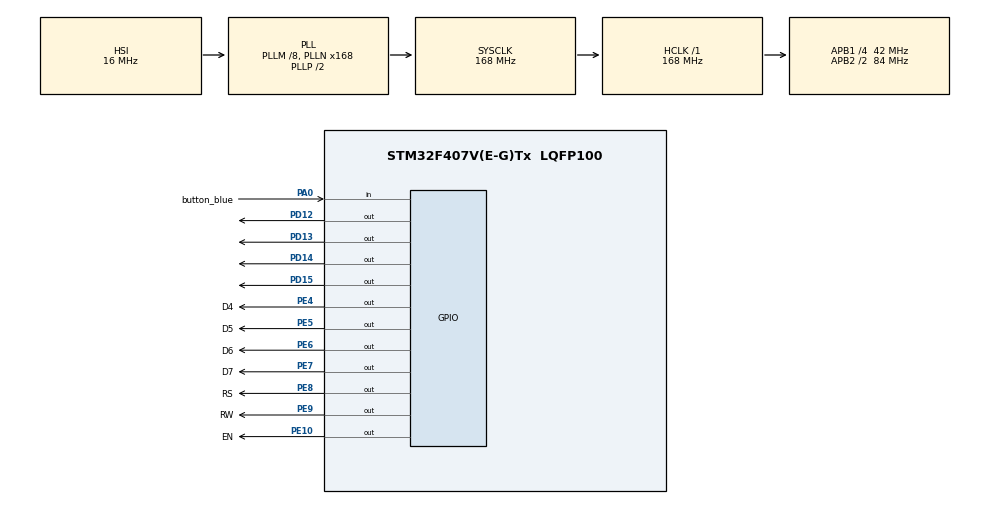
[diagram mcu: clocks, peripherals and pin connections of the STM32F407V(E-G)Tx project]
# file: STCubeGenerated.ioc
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Mcu.Family=STM32F4
Mcu.Name=STM32F407V(E-G)Tx
Mcu.Package=LQFP100
NVIC.PriorityGroup=NVIC_PRIORITYGROUP_4
PA0-WKUP.GPIO_Label=button_blue
PA0-WKUP.Signal=GPIO_Input
PD12.Signal=GPIO_Output
PD13.Signal=GPIO_Output
PD14.Signal=GPIO_Output
PD15.Signal=GPIO_Output
PE10.GPIO_Label=EN
PE10.GPIO_ModeDefaultOutputPP=GPIO_MODE_OUTPUT_PP
PE10.GPIO_PuPd=GPIO_NOPULL
PE10.Signal=GPIO_Output
PE4.GPIO_Label=D4
PE4.GPIO_ModeDefaultOutputPP=GPIO_MODE_OUTPUT_PP
PE4.GPIO_PuPd=GPIO_NOPULL
PE4.Signal=GPIO_Output
PE5.GPIO_Label=D5
PE5.GPIO_ModeDefaultOutputPP=GPIO_MODE_OUTPUT_PP
PE5.GPIO_PuPd=GPIO_NOPULL
PE5.Signal=GPIO_Output
PE6.GPIO_Label=D6
PE6.GPIO_ModeDefaultOutputPP=GPIO_MODE_OUTPUT_PP
PE6.GPIO_PuPd=GPIO_NOPULL
PE6.Signal=GPIO_Output
PE7.GPIO_Label=D7
PE7.GPIO_ModeDefaultOutputPP=GPIO_MODE_OUTPUT_PP
PE7.GPIO_PuPd=GPIO_NOPULL
PE7.Signal=GPIO_Output
PE8.GPIO_Label=RS
PE8.GPIO_ModeDefaultOutputPP=GPIO_MODE_OUTPUT_PP
PE8.GPIO_PuPd=GPIO_NOPULL
PE8.Signal=GPIO_Output
PE9.GPIO_Label=RW
PE9.GPIO_ModeDefaultOutputPP=GPIO_MODE_OUTPUT_PP
PE9.GPIO_PuPd=GPIO_NOPULL
PE9.Signal=GPIO_Output
PH0-OSC_IN.Mode=HSE-External-Oscillator
PH0-OSC_IN.Signal=RCC_OSC_IN
PH1-OSC_OUT.Mode=HSE-External-Oscillator
PH1-OSC_OUT.Signal=RCC_OSC_OUT
ProjectManager.HeapSize=0x200
ProjectManager.StackSize=0x400
ProjectManager.TargetToolchain=MDK-ARM V5
RCC.48MHZClocksFreq_Value=84000000
RCC.AHBFreq_Value=168000000
RCC.APB1CLKDivider=RCC_HCLK_DIV4
RCC.APB1Freq_Value=42000000
RCC.APB1TimFreq_Value=84000000
RCC.APB2CLKDivider=RCC_HCLK_DIV2
RCC.APB2Freq_Value=84000000
RCC.APB2TimFreq_Value=168000000
RCC.CortexFreq_Value=168000000
RCC.HCLKFreq_Value=168000000
RCC.HSE_VALUE=8000000
RCC.HSI_VALUE=16000000
RCC.LSE_VALUE=32768
RCC.PLLM=8
RCC.PLLN=168
RCC.SYSCLKFreq_VALUE=168000000
RCC.SYSCLKSource=RCC_SYSCLKSOURCE_PLLCLK
RCC.VCOOutputFreq_Value=336000000
board=custom

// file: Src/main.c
/* USER CODE BEGIN Header */
/**
  ******************************************************************************
  * @file           : main.c
  * @brief          : Main program body
  ******************************************************************************
  * @attention
  *
  * Copyright (c) 2023 STMicroelectronics.
  * All rights reserved.
  *
  * This software is licensed under terms that can be found in the LICENSE file
  * in the root directory of this software component.
  * If no LICENSE file comes with this software, it is provided AS-IS.
  *
  ******************************************************************************
  */
/* USER CODE END Header */
#include "main.h"

/* USER CODE BEGIN Includes */
#include "lcd.h"
#include "stdio.h"

/* USER CODE END Includes */

void SystemClock_Config(void);
static void MX_GPIO_Init(void);

int main(void)
{

  /* MCU Configuration--------------------------------------------------------*/

  /* Reset of all peripherals, Initializes the Flash interface and the Systick. */
  HAL_Init();

  /* Configure the system clock */
  SystemClock_Config();

  /* Initialize all configured peripherals */
  MX_GPIO_Init();
  /* USER CODE BEGIN 2 */

	// lcd_init
	HAL_GPIO_WritePin(RW_GPIO_Port, RW_Pin, 0);
	Lcd_PortType ports[] = { D4_GPIO_Port, D5_GPIO_Port, D6_GPIO_Port, D7_GPIO_Port };
	Lcd_PinType pins[] = {D4_Pin, D5_Pin, D6_Pin, D7_Pin};
	Lcd_HandleTypeDef lcd;
	lcd = Lcd_create(ports, pins, RS_GPIO_Port, RS_Pin, EN_GPIO_Port, EN_Pin, LCD_4_BIT_MODE);

	// write something and wait 3sec
	Lcd_string(&lcd, "BANU Embedded Sys.");
	Lcd_cursor(&lcd, 1,6);
	Lcd_int(&lcd, 2023);
	HAL_Delay(3000);
	Lcd_clear(&lcd);

  /* USER CODE END 2 */

  /* Infinite loop */
  /* USER CODE BEGIN WHILE */

	char str[16];
	int counter=0;

	// create coustum char
	uint8_t bitmap[]={	0b00011111,
											0b00010101,
											0b00010101,
											0b00010101,
											0b00010101,
											0b00010101,
											0b00011111,
											0b00011111	};
	uint8_t code=0;
	// define coustum char
	Lcd_define_char(&lcd, code, bitmap);

  while (1)
  {
		// count button inputs
		if (HAL_GPIO_ReadPin(button_blue_GPIO_Port, button_blue_Pin))
			counter++;

		// wait until button released
		while(HAL_GPIO_ReadPin(button_blue_GPIO_Port, button_blue_Pin));

		// ptint counter
		Lcd_cursor(&lcd, 0,0);
		snprintf(str, 16, "xxx= %d", counter);
		Lcd_string(&lcd, str);
		Lcd_cursor(&lcd, 1,0);
		Lcd_coustom_char(&lcd, 0);
		//Lcd_string(&lcd, "Button Counter");

    /* USER CODE END WHILE */

  }
}

void SystemClock_Config(void)
{
  RCC_OscInitTypeDef RCC_OscInitStruct = {0};
  RCC_ClkInitTypeDef RCC_ClkInitStruct = {0};

  /** Configure the main internal regulator output voltage
  */
  __HAL_RCC_PWR_CLK_ENABLE();
  __HAL_PWR_VOLTAGESCALING_CONFIG(PWR_REGULATOR_VOLTAGE_SCALE1);

  /** Initializes the RCC Oscillators according to the specified parameters
  * in the RCC_OscInitTypeDef structure.
  */
  RCC_OscInitStruct.OscillatorType = RCC_OSCILLATORTYPE_HSI;
  RCC_OscInitStruct.HSIState = RCC_HSI_ON;
  RCC_OscInitStruct.HSICalibrationValue = RCC_HSICALIBRATION_DEFAULT;
  RCC_OscInitStruct.PLL.PLLState = RCC_PLL_ON;
  RCC_OscInitStruct.PLL.PLLSource = RCC_PLLSOURCE_HSI;
  RCC_OscInitStruct.PLL.PLLM = 8;
  RCC_OscInitStruct.PLL.PLLN = 168;
  RCC_OscInitStruct.PLL.PLLP = RCC_PLLP_DIV2;
  RCC_OscInitStruct.PLL.PLLQ = 4;
  if (HAL_RCC_OscConfig(&RCC_OscInitStruct) != HAL_OK)
  {
    Error_Handler();
  }

  /** Initializes the CPU, AHB and APB buses clocks
  */
  RCC_ClkInitStruct.ClockType = RCC_CLOCKTYPE_HCLK|RCC_CLOCKTYPE_SYSCLK
                              |RCC_CLOCKTYPE_PCLK1|RCC_CLOCKTYPE_PCLK2;
  RCC_ClkInitStruct.SYSCLKSource = RCC_SYSCLKSOURCE_PLLCLK;
  RCC_ClkInitStruct.AHBCLKDivider = RCC_SYSCLK_DIV1;
  RCC_ClkInitStruct.APB1CLKDivider = RCC_HCLK_DIV4;
  RCC_ClkInitStruct.APB2CLKDivider = RCC_HCLK_DIV2;

  if (HAL_RCC_ClockConfig(&RCC_ClkInitStruct, FLASH_LATENCY_5) != HAL_OK)
  {
    Error_Handler();
  }
}

static void MX_GPIO_Init(void)
{
  GPIO_InitTypeDef GPIO_InitStruct = {0};

  /* GPIO Ports Clock Enable */
  __HAL_RCC_GPIOE_CLK_ENABLE();
  __HAL_RCC_GPIOH_CLK_ENABLE();
  __HAL_RCC_GPIOA_CLK_ENABLE();
  __HAL_RCC_GPIOD_CLK_ENABLE();

  /*Configure GPIO pin Output Level */
  HAL_GPIO_WritePin(GPIOE, D4_Pin|D5_Pin|D6_Pin|D7_Pin
                          |RS_Pin|RW_Pin|EN_Pin, GPIO_PIN_RESET);

  /*Configure GPIO pin Output Level */
  HAL_GPIO_WritePin(GPIOD, GPIO_PIN_12|GPIO_PIN_13|GPIO_PIN_14|GPIO_PIN_15, GPIO_PIN_RESET);

  /*Configure GPIO pins : D4_Pin D5_Pin D6_Pin D7_Pin
                           RS_Pin RW_Pin EN_Pin */
  GPIO_InitStruct.Pin = D4_Pin|D5_Pin|D6_Pin|D7_Pin
                          |RS_Pin|RW_Pin|EN_Pin;
  GPIO_InitStruct.Mode = GPIO_MODE_OUTPUT_PP;
  GPIO_InitStruct.Pull = GPIO_NOPULL;
  GPIO_InitStruct.Speed = GPIO_SPEED_FREQ_LOW;
  HAL_GPIO_Init(GPIOE, &GPIO_InitStruct);

  /*Configure GPIO pin : button_blue_Pin */
  GPIO_InitStruct.Pin = button_blue_Pin;
  GPIO_InitStruct.Mode = GPIO_MODE_INPUT;
  GPIO_InitStruct.Pull = GPIO_NOPULL;
  HAL_GPIO_Init(button_blue_GPIO_Port, &GPIO_InitStruct);

  /*Configure GPIO pins : PD12 PD13 PD14 PD15 */
  GPIO_InitStruct.Pin = GPIO_PIN_12|GPIO_PIN_13|GPIO_PIN_14|GPIO_PIN_15;
  GPIO_InitStruct.Mode = GPIO_MODE_OUTPUT_PP;
  GPIO_InitStruct.Pull = GPIO_NOPULL;
  GPIO_InitStruct.Speed = GPIO_SPEED_FREQ_LOW;
  HAL_GPIO_Init(GPIOD, &GPIO_InitStruct);

}

void Error_Handler(void)
{
  __disable_irq();
  while (1)
  {
  }
}
